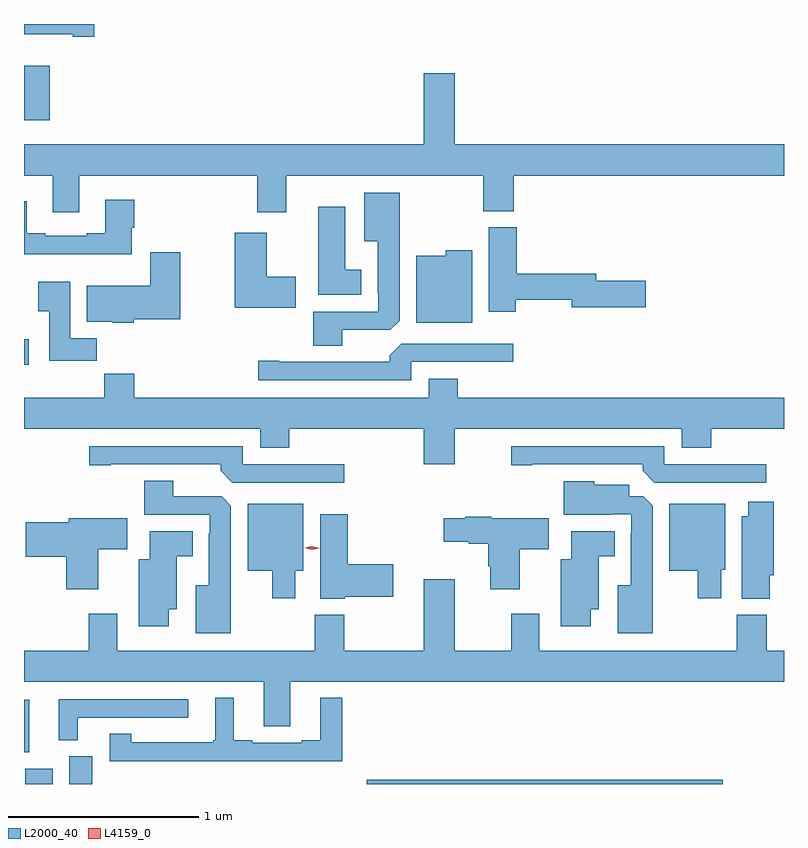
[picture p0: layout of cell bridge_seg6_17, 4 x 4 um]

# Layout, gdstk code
import gdstk
lib = gdstk.Library(unit=1e-6, precision=1e-09)
def R(c, l, rs):  # rectangles x0, y0, x1, y1
    for r in rs: c.add(gdstk.rectangle(r[:2], r[2:], *l))
def P(c, l, *ps):  # polygons
    for p in ps: c.add(gdstk.Polygon(p, *l))
L2000_40 = (2000, 40)
L4159_0 = (4159, 0)

bridge_seg6_17 = lib.new_cell('bridge_seg6_17')
R(bridge_seg6_17, L2000_40, [(978.095,950.794,978.238,950.875), (978.326,950.794,978.448,950.94), (979.893,950.794,981.766,950.816), (978.088,950.96,978.115,951.238), (978.088,953,978.112,953.134), (978.088,954.288,978.224,954.574)])
P(bridge_seg6_17, L2000_40, [(978.457,954.794),(978.088,954.794),(978.088,954.74),(978.344,954.74),(978.344,954.728),(978.457,954.728)],
  [(978.379,953.996),(979.316,953.996),(979.316,953.802),(979.468,953.802),(979.468,953.996),(980.506,953.996),(980.506,953.809),(980.666,953.809),(980.666,953.996),(982.088,953.996),(982.088,954.16),(980.356,954.16),(980.356,954.535),(980.192,954.535),(980.192,954.16),(978.088,954.16),(978.088,953.996),(978.239,953.996),(978.239,953.802),(978.379,953.802)],
  [(979.762,953.184),(980.016,953.184),(980.065,953.233),(980.065,953.905),(979.88,953.905),(979.88,953.651),(979.949,953.651),(979.949,953.377),(979.953,953.377),(979.953,953.28),(979.61,953.28),(979.61,953.101),(979.762,953.101)],
  [(978.655,953.721),(978.668,953.721),(978.668,953.869),(978.515,953.869),(978.515,953.692),(978.419,953.692),(978.419,953.679),(978.199,953.679),(978.199,953.692),(978.103,953.692),(978.103,953.86),(978.088,953.86),(978.088,953.582),(978.655,953.582)],
  [(979.864,953.5),(979.78,953.5),(979.78,953.833),(979.637,953.833),(979.637,953.369),(979.864,953.369)],
  [(980.676,953.344),(980.972,953.344),(980.972,953.302),(981.361,953.302),(981.361,953.444),(981.1,953.444),(981.1,953.48),(980.681,953.48),(980.681,953.724),(980.534,953.724),(980.534,953.28),(980.676,953.28)],
  [(979.519,953.463),(979.366,953.463),(979.366,953.695),(979.196,953.695),(979.196,953.3),(979.519,953.3)],
  [(980.446,953.602),(980.307,953.602),(980.307,953.575),(980.153,953.575),(980.153,953.222),(980.446,953.222)],
  [(978.666,953.24),(978.91,953.24),(978.91,953.593),(978.752,953.593),(978.752,953.416),(978.419,953.416),(978.419,953.228),(978.552,953.228),(978.552,953.222),(978.666,953.222)],
  [(978.47,953.14),(978.331,953.14),(978.331,953.437),(978.164,953.437),(978.164,953.281),(978.221,953.281),(978.221,953.022),(978.47,953.022)],
  [(980.127,953.016),(980.662,953.016),(980.662,953.112),(980.073,953.112),(980.012,953.05),(980.012,953.016),(979.432,953.016),(979.432,953.021),(979.32,953.021),(979.32,952.92),(980.127,952.92)],
  [(978.668,952.952),(978.511,952.952),(978.511,952.828),(978.088,952.828),(978.088,952.664),(979.331,952.664),(979.331,952.565),(979.484,952.565),(979.484,952.664),(980.192,952.664),(980.192,952.476),(980.356,952.476),(980.356,952.664),(981.551,952.664),(981.551,952.565),(981.704,952.565),(981.704,952.664),(982.088,952.664),(982.088,952.828),(980.372,952.828),(980.372,952.927),(980.219,952.927),(980.219,952.828),(978.668,952.828)],
  [(981.994,952.476),(981.459,952.476),(981.459,952.572),(980.652,952.572),(980.652,952.471),(980.764,952.471),(980.764,952.476),(981.344,952.476),(981.344,952.442),(981.405,952.38),(981.994,952.38)],
  [(979.774,952.476),(979.239,952.476),(979.239,952.572),(978.432,952.572),(978.432,952.471),(978.544,952.471),(978.544,952.476),(979.124,952.476),(979.124,952.442),(979.185,952.38),(979.774,952.38)],
  [(979.177,952.259),(979.128,952.308),(978.874,952.308),(978.874,952.391),(978.722,952.391),(978.722,952.212),(979.065,952.212),(979.065,952.115),(979.061,952.115),(979.061,951.841),(978.992,951.841),(978.992,951.587),(979.177,951.587)],
  [(981.397,952.259),(981.348,952.308),(981.274,952.308),(981.274,952.369),(981.09,952.369),(981.09,952.387),(980.93,952.387),(980.93,952.211),(981.185,952.211),(981.185,952.215),(981.285,952.215),(981.285,952.115),(981.281,952.115),(981.281,951.841),(981.212,951.841),(981.212,951.587),(981.397,951.587)],
  [(982.013,951.894),(982.034,951.894),(982.034,952.279),(981.899,952.279),(981.899,952.204),(981.866,952.204),(981.866,951.769),(982.013,951.769)],
  [(979.516,951.917),(979.558,951.917),(979.558,952.27),(979.265,952.27),(979.265,951.917),(979.394,951.917),(979.394,951.771),(979.516,951.771)],
  [(981.757,951.921),(981.778,951.921),(981.778,952.27),(981.485,952.27),(981.485,951.917),(981.635,951.917),(981.635,951.771),(981.757,951.771)],
  [(979.776,951.779),(980.032,951.779),(980.032,951.95),(979.793,951.95),(979.793,952.213),(979.646,952.213),(979.646,951.77),(979.776,951.77)],
  [(980.698,952.03),(980.851,952.03),(980.851,952.192),(980.547,952.192),(980.547,952.2),(980.41,952.2),(980.41,952.192),(980.298,952.192),(980.298,952.07),(980.429,952.07),(980.429,952.058),(980.531,952.058),(980.531,951.941),(980.543,951.941),(980.543,951.819),(980.698,951.819)],
  [(978.478,952.03),(978.631,952.03),(978.631,952.192),(978.323,952.192),(978.323,952.172),(978.096,952.172),(978.096,951.989),(978.311,951.989),(978.311,951.819),(978.478,951.819)],
  [(981.07,951.713),(981.112,951.713),(981.112,951.992),(981.196,951.992),(981.196,952.123),(980.969,952.123),(980.969,951.976),(980.912,951.976),(980.912,951.624),(981.07,951.624)],
  [(978.85,951.713),(978.892,951.713),(978.892,951.992),(978.976,951.992),(978.976,952.123),(978.749,952.123),(978.749,951.976),(978.692,951.976),(978.692,951.624),(978.85,951.624)],
  [(979.489,951.332),(982.088,951.332),(982.088,951.496),(981.998,951.496),(981.998,951.684),(981.838,951.684),(981.838,951.496),(980.8,951.496),(980.8,951.691),(980.653,951.691),(980.653,951.496),(980.356,951.496),(980.356,951.871),(980.192,951.871),(980.192,951.496),(979.773,951.496),(979.773,951.685),(979.618,951.685),(979.618,951.496),(978.58,951.496),(978.58,951.691),(978.428,951.691),(978.428,951.496),(978.088,951.496),(978.088,951.332),(979.349,951.332),(979.349,951.097),(979.489,951.097)],
  [(979.763,951.247),(979.646,951.247),(979.646,951.025),(979.55,951.025),(979.55,951.012),(979.288,951.012),(979.288,951.025),(979.192,951.025),(979.192,951.247),(979.094,951.247),(979.094,951.025),(979.083,951.025),(979.083,951.013),(978.653,951.013),(978.653,951.059),(978.54,951.059),(978.54,950.915),(979.763,950.915)],
  [(978.37,951.144),(978.952,951.144),(978.952,951.24),(978.272,951.24),(978.272,951.025),(978.37,951.025)])
P(bridge_seg6_17, L4159_0, [(979.603,952.026),(979.565,952.037),(979.565,952.037),(979.565,952.037),(979.603,952.046),(979.641,952.036),(979.642,952.036),(979.641,952.035)])

lib.write_gds('bridge_seg6_17.gds')
